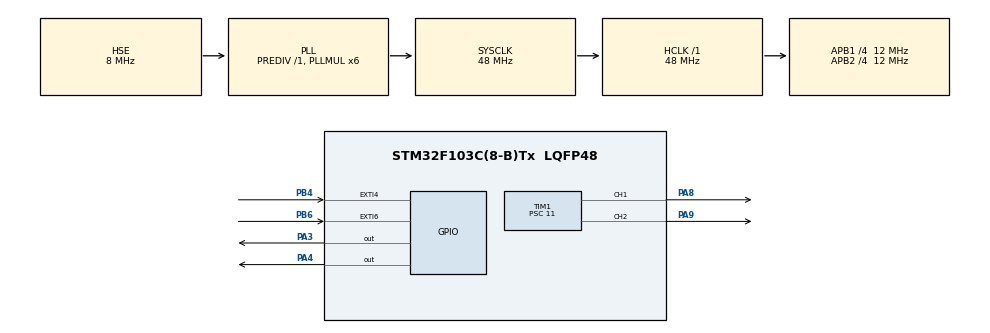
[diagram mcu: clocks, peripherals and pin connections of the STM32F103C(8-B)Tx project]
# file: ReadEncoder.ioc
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Mcu.Family=STM32F1
Mcu.Name=STM32F103C(8-B)Tx
Mcu.Package=LQFP48
NVIC.EXTI4_IRQn=true\:0\:0\:false\:false\:true\:true\:true\:true
NVIC.EXTI9_5_IRQn=true\:0\:0\:false\:false\:true\:true\:true\:true
NVIC.PriorityGroup=NVIC_PRIORITYGROUP_4
PA13.Mode=Serial_Wire
PA13.Signal=SYS_JTMS-SWDIO
PA14.Mode=Serial_Wire
PA14.Signal=SYS_JTCK-SWCLK
PA3.Signal=GPIO_Output
PA4.Signal=GPIO_Output
PA8.Signal=S_TIM1_CH1
PA9.Signal=S_TIM1_CH2
PB4.GPIO_ModeDefaultEXTI=GPIO_MODE_IT_RISING_FALLING
PB4.GPIO_PuPd=GPIO_PULLUP
PB4.Signal=GPXTI4
PB6.GPIO_ModeDefaultEXTI=GPIO_MODE_IT_RISING_FALLING
PB6.GPIO_PuPd=GPIO_PULLUP
PB6.Signal=GPXTI6
PD0-OSC_IN.Mode=HSE-External-Oscillator
PD0-OSC_IN.Signal=RCC_OSC_IN
PD1-OSC_OUT.Mode=HSE-External-Oscillator
PD1-OSC_OUT.Signal=RCC_OSC_OUT
ProjectManager.HeapSize=0x200
ProjectManager.StackSize=0x400
ProjectManager.TargetToolchain=MDK-ARM V5.32
RCC.AHBFreq_Value=48000000
RCC.APB1CLKDivider=RCC_HCLK_DIV4
RCC.APB1Freq_Value=12000000
RCC.APB1TimFreq_Value=24000000
RCC.APB2CLKDivider=RCC_HCLK_DIV4
RCC.APB2Freq_Value=12000000
RCC.APB2TimFreq_Value=24000000
RCC.HCLKFreq_Value=48000000
RCC.PLLMUL=RCC_PLL_MUL6
RCC.PLLSourceVirtual=RCC_PLLSOURCE_HSE
RCC.SYSCLKFreq_VALUE=48000000
RCC.SYSCLKSource=RCC_SYSCLKSOURCE_PLLCLK
RCC.USBFreq_Value=48000000
SH.S_TIM1_CH1.0=TIM1_CH1,PWM Generation1 CH1
SH.S_TIM1_CH2.0=TIM1_CH2,PWM Generation2 CH2
TIM1.Channel-PWM\ Generation1\ CH1=TIM_CHANNEL_1
TIM1.Channel-PWM\ Generation2\ CH2=TIM_CHANNEL_2
TIM1.Period=100
TIM1.Prescaler=11
board=custom

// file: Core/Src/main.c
/* USER CODE BEGIN Header */
/**
  ******************************************************************************
  * @file           : main.c
  * @brief          : Main program body
  ******************************************************************************
  * @attention
  *
  * Copyright (c) 2023 STMicroelectronics.
  * All rights reserved.
  *
  * This software is licensed under terms that can be found in the LICENSE file
  * in the root directory of this software component.
  * If no LICENSE file comes with this software, it is provided AS-IS.
  *
  ******************************************************************************
  */
/* USER CODE END Header */
#include "main.h"

/* USER CODE BEGIN PD */
#define UPDATE_PERIOD			0.005		/* Chu ki cap nhat: 5ms = ngat timer 4 */
#define PULSES_IN_ROUND		230.4		/* So xung tren 1 vong cua dong co = 12 xung x ti so truyen 19.2 */
/* USER CODE END PD */

TIM_HandleTypeDef htim1;

/* USER CODE BEGIN PV */
uint16_t pwm1;
uint16_t pwm2;

uint8_t 	PreviousState_R 	= 0;							/* Trang thai encoder chu ki truoc */
int16_t 	CountValue_R  		= 0;							/* Bien dem encoder => tinh vi tri */
int32_t 	PosCnt_R  				= 0;							/* Bien dem so vong quay => tinh vi tri */
uint16_t 	VelCnt_R      		= 0;							/* Bien dem encoder => tinh van toc */
uint16_t 	VelTemp_R      		= 0;							/* Bien dem encoder => tinh van toc */
/* USER CODE END PV */

void SystemClock_Config(void);
static void MX_GPIO_Init(void);
static void MX_TIM1_Init(void);

int main(void)
{

  /* MCU Configuration--------------------------------------------------------*/

  /* Reset of all peripherals, Initializes the Flash interface and the Systick. */
  HAL_Init();

  /* Configure the system clock */
  SystemClock_Config();

  /* Initialize all configured peripherals */
  MX_GPIO_Init();
  MX_TIM1_Init();
  /* USER CODE BEGIN 2 */
	HAL_TIM_PWM_Start(&htim1, TIM_CHANNEL_1);	// khoi tao timer 1
	HAL_TIM_PWM_Start(&htim1, TIM_CHANNEL_2);	// khoi tao timer 1
  /* USER CODE END 2 */

  /* Infinite loop */
  while (1)
  {
		HAL_GPIO_WritePin(GPIOA, GPIO_PIN_3, 1);
		HAL_GPIO_WritePin(GPIOA, GPIO_PIN_4, 1);

		__HAL_TIM_SetCompare(&htim1, TIM_CHANNEL_1, pwm1);
		__HAL_TIM_SetCompare(&htim1, TIM_CHANNEL_2, pwm2);

  }
}

void SystemClock_Config(void)
{
  RCC_OscInitTypeDef RCC_OscInitStruct = {0};
  RCC_ClkInitTypeDef RCC_ClkInitStruct = {0};

  /** Initializes the RCC Oscillators according to the specified parameters
  * in the RCC_OscInitTypeDef structure.
  */
  RCC_OscInitStruct.OscillatorType = RCC_OSCILLATORTYPE_HSE;
  RCC_OscInitStruct.HSEState = RCC_HSE_ON;
  RCC_OscInitStruct.HSEPredivValue = RCC_HSE_PREDIV_DIV1;
  RCC_OscInitStruct.HSIState = RCC_HSI_ON;
  RCC_OscInitStruct.PLL.PLLState = RCC_PLL_ON;
  RCC_OscInitStruct.PLL.PLLSource = RCC_PLLSOURCE_HSE;
  RCC_OscInitStruct.PLL.PLLMUL = RCC_PLL_MUL6;
  if (HAL_RCC_OscConfig(&RCC_OscInitStruct) != HAL_OK)
  {
    Error_Handler();
  }

  /** Initializes the CPU, AHB and APB buses clocks
  */
  RCC_ClkInitStruct.ClockType = RCC_CLOCKTYPE_HCLK|RCC_CLOCKTYPE_SYSCLK
                              |RCC_CLOCKTYPE_PCLK1|RCC_CLOCKTYPE_PCLK2;
  RCC_ClkInitStruct.SYSCLKSource = RCC_SYSCLKSOURCE_PLLCLK;
  RCC_ClkInitStruct.AHBCLKDivider = RCC_SYSCLK_DIV1;
  RCC_ClkInitStruct.APB1CLKDivider = RCC_HCLK_DIV4;
  RCC_ClkInitStruct.APB2CLKDivider = RCC_HCLK_DIV4;

  if (HAL_RCC_ClockConfig(&RCC_ClkInitStruct, FLASH_LATENCY_1) != HAL_OK)
  {
    Error_Handler();
  }
}

static void MX_TIM1_Init(void)
{

  TIM_MasterConfigTypeDef sMasterConfig = {0};
  TIM_OC_InitTypeDef sConfigOC = {0};
  TIM_BreakDeadTimeConfigTypeDef sBreakDeadTimeConfig = {0};

  htim1.Instance = TIM1;
  htim1.Init.Prescaler = 11;
  htim1.Init.CounterMode = TIM_COUNTERMODE_UP;
  htim1.Init.Period = 100;
  htim1.Init.ClockDivision = TIM_CLOCKDIVISION_DIV1;
  htim1.Init.RepetitionCounter = 0;
  htim1.Init.AutoReloadPreload = TIM_AUTORELOAD_PRELOAD_DISABLE;
  if (HAL_TIM_PWM_Init(&htim1) != HAL_OK)
  {
    Error_Handler();
  }
  sMasterConfig.MasterOutputTrigger = TIM_TRGO_RESET;
  sMasterConfig.MasterSlaveMode = TIM_MASTERSLAVEMODE_DISABLE;
  if (HAL_TIMEx_MasterConfigSynchronization(&htim1, &sMasterConfig) != HAL_OK)
  {
    Error_Handler();
  }
  sConfigOC.OCMode = TIM_OCMODE_PWM1;
  sConfigOC.Pulse = 0;
  sConfigOC.OCPolarity = TIM_OCPOLARITY_HIGH;
  sConfigOC.OCNPolarity = TIM_OCNPOLARITY_HIGH;
  sConfigOC.OCFastMode = TIM_OCFAST_DISABLE;
  sConfigOC.OCIdleState = TIM_OCIDLESTATE_RESET;
  sConfigOC.OCNIdleState = TIM_OCNIDLESTATE_RESET;
  if (HAL_TIM_PWM_ConfigChannel(&htim1, &sConfigOC, TIM_CHANNEL_1) != HAL_OK)
  {
    Error_Handler();
  }
  if (HAL_TIM_PWM_ConfigChannel(&htim1, &sConfigOC, TIM_CHANNEL_2) != HAL_OK)
  {
    Error_Handler();
  }
  sBreakDeadTimeConfig.OffStateRunMode = TIM_OSSR_DISABLE;
  sBreakDeadTimeConfig.OffStateIDLEMode = TIM_OSSI_DISABLE;
  sBreakDeadTimeConfig.LockLevel = TIM_LOCKLEVEL_OFF;
  sBreakDeadTimeConfig.DeadTime = 0;
  sBreakDeadTimeConfig.BreakState = TIM_BREAK_DISABLE;
  sBreakDeadTimeConfig.BreakPolarity = TIM_BREAKPOLARITY_HIGH;
  sBreakDeadTimeConfig.AutomaticOutput = TIM_AUTOMATICOUTPUT_DISABLE;
  if (HAL_TIMEx_ConfigBreakDeadTime(&htim1, &sBreakDeadTimeConfig) != HAL_OK)
  {
    Error_Handler();
  }
  HAL_TIM_MspPostInit(&htim1);

}

static void MX_GPIO_Init(void)
{
  GPIO_InitTypeDef GPIO_InitStruct = {0};

  /* GPIO Ports Clock Enable */
  __HAL_RCC_GPIOC_CLK_ENABLE();
  __HAL_RCC_GPIOD_CLK_ENABLE();
  __HAL_RCC_GPIOA_CLK_ENABLE();
  __HAL_RCC_GPIOB_CLK_ENABLE();

  /*Configure GPIO pin Output Level */
  HAL_GPIO_WritePin(GPIOA, GPIO_PIN_3|GPIO_PIN_4, GPIO_PIN_RESET);

  /*Configure GPIO pins : PC13 PC14 PC15 */
  GPIO_InitStruct.Pin = GPIO_PIN_13|GPIO_PIN_14|GPIO_PIN_15;
  GPIO_InitStruct.Mode = GPIO_MODE_ANALOG;
  HAL_GPIO_Init(GPIOC, &GPIO_InitStruct);

  /*Configure GPIO pins : PA0 PA1 PA2 PA5
                           PA6 PA7 PA10 PA11
                           PA12 PA15 */
  GPIO_InitStruct.Pin = GPIO_PIN_0|GPIO_PIN_1|GPIO_PIN_2|GPIO_PIN_5
                          |GPIO_PIN_6|GPIO_PIN_7|GPIO_PIN_10|GPIO_PIN_11
                          |GPIO_PIN_12|GPIO_PIN_15;
  GPIO_InitStruct.Mode = GPIO_MODE_ANALOG;
  HAL_GPIO_Init(GPIOA, &GPIO_InitStruct);

  /*Configure GPIO pins : PA3 PA4 */
  GPIO_InitStruct.Pin = GPIO_PIN_3|GPIO_PIN_4;
  GPIO_InitStruct.Mode = GPIO_MODE_OUTPUT_PP;
  GPIO_InitStruct.Pull = GPIO_NOPULL;
  GPIO_InitStruct.Speed = GPIO_SPEED_FREQ_LOW;
  HAL_GPIO_Init(GPIOA, &GPIO_InitStruct);

  /*Configure GPIO pins : PB0 PB1 PB2 PB10
                           PB11 PB12 PB13 PB14
                           PB15 PB3 PB5 PB7
                           PB8 PB9 */
  GPIO_InitStruct.Pin = GPIO_PIN_0|GPIO_PIN_1|GPIO_PIN_2|GPIO_PIN_10
                          |GPIO_PIN_11|GPIO_PIN_12|GPIO_PIN_13|GPIO_PIN_14
                          |GPIO_PIN_15|GPIO_PIN_3|GPIO_PIN_5|GPIO_PIN_7
                          |GPIO_PIN_8|GPIO_PIN_9;
  GPIO_InitStruct.Mode = GPIO_MODE_ANALOG;
  HAL_GPIO_Init(GPIOB, &GPIO_InitStruct);

  /*Configure GPIO pins : PB4 PB6 */
  GPIO_InitStruct.Pin = GPIO_PIN_4|GPIO_PIN_6;
  GPIO_InitStruct.Mode = GPIO_MODE_IT_RISING_FALLING;
  GPIO_InitStruct.Pull = GPIO_PULLUP;
  HAL_GPIO_Init(GPIOB, &GPIO_InitStruct);

  /* EXTI interrupt init*/
  HAL_NVIC_SetPriority(EXTI4_IRQn, 0, 0);
  HAL_NVIC_EnableIRQ(EXTI4_IRQn);

  HAL_NVIC_SetPriority(EXTI9_5_IRQn, 0, 0);
  HAL_NVIC_EnableIRQ(EXTI9_5_IRQn);

}

/* USER CODE BEGIN 4 */

/* ========================================================================= Read Encoder ========================================================================= */
void HAL_GPIO_EXTI_Callback(uint16_t GPIO_Pin)
{
	/* ENC_CHA RIGHT MOTOR */
	if(GPIO_Pin == GPIO_PIN_4)
	{
		unsigned char StateA_R;
		StateA_R = (StateA_R<<1) | HAL_GPIO_ReadPin(GPIOB, GPIO_PIN_4);
		StateA_R = (StateA_R<<1) | HAL_GPIO_ReadPin(GPIOB, GPIO_PIN_6);
		StateA_R = StateA_R&0x03;
		switch (StateA_R) {
			case 0:
				if(PreviousState_R==1) CountValue_R++;
				else CountValue_R--;
			break;
			case 1:
				if(PreviousState_R==3) CountValue_R++;
				else CountValue_R--;
			break;
			case 2:
				if(PreviousState_R==0) CountValue_R++;
				else CountValue_R--;
			break;
			case 3:
				if(PreviousState_R==2) CountValue_R++;
				else CountValue_R--;
			break;
			}
		PreviousState_R = StateA_R;
		VelCnt_R++;
		if (CountValue_R>=4*PULSES_IN_ROUND) {
			CountValue_R = 0;
			PosCnt_R++;
		}
		else if	(CountValue_R<=-4*PULSES_IN_ROUND) {
			CountValue_R = 0;
			PosCnt_R--;
		}
	}

	/* ENC_CHB RIGHT MOTOR */
	if(GPIO_Pin == GPIO_PIN_6)
	{
		unsigned char StateB_R;
		StateB_R = (StateB_R<<1) | HAL_GPIO_ReadPin(GPIOB, GPIO_PIN_4);
		StateB_R = (StateB_R<<1) | HAL_GPIO_ReadPin(GPIOB, GPIO_PIN_6);
		StateB_R = StateB_R&0x03;
		switch (StateB_R) {
			case 0:
				if(PreviousState_R==1) CountValue_R++;
				else CountValue_R--;
			break;
			case 1:
				if(PreviousState_R==3) CountValue_R++;
				else CountValue_R--;
			break;
			case 2:
				if(PreviousState_R==0) CountValue_R++;
				else CountValue_R--;
			break;
			case 3:
				if(PreviousState_R==2) CountValue_R++;
				else CountValue_R--;
			break;
			}
		PreviousState_R = StateB_R;
		VelCnt_R++;
		if (CountValue_R>=4*PULSES_IN_ROUND) {
			CountValue_R = 0;
			PosCnt_R++;
		}
		else if	(CountValue_R<=-4*PULSES_IN_ROUND) {
			CountValue_R = 0;
			PosCnt_R--;
		}
	}
}
/* ========================================================================= End Read Encoder ========================================================================= */

/* USER CODE END 4 */

void Error_Handler(void)
{
  __disable_irq();
  while (1)
  {
  }
}
